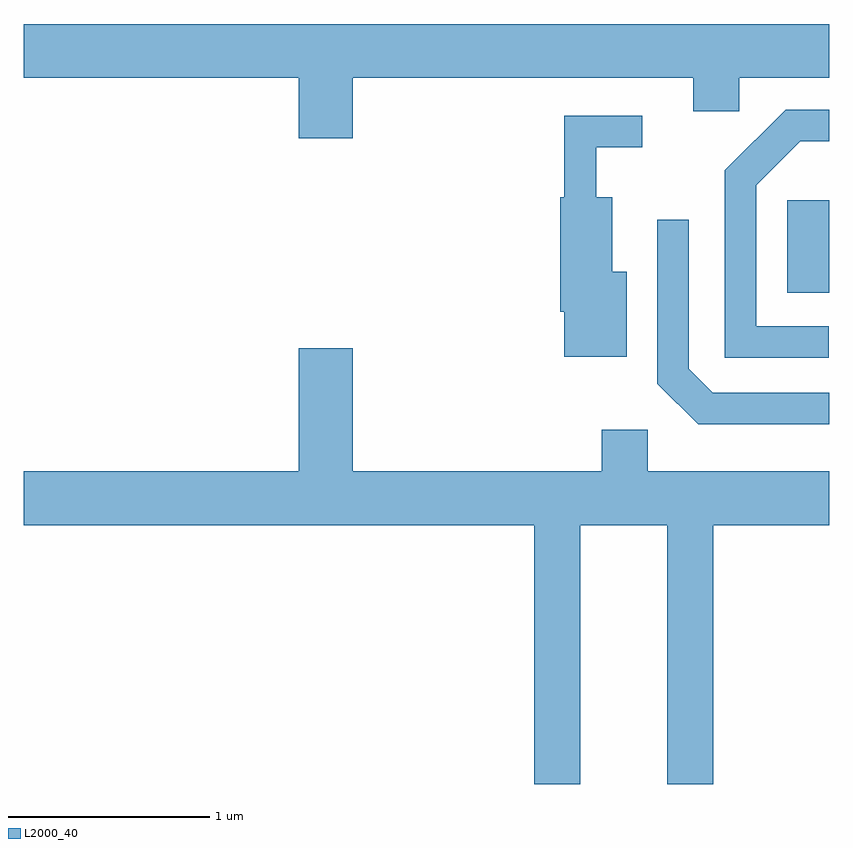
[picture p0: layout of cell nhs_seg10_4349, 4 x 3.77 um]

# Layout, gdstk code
import gdstk
lib = gdstk.Library(unit=1e-6, precision=1e-09)
def R(c, l, rs):  # rectangles x0, y0, x1, y1
    for r in rs: c.add(gdstk.rectangle(r[:2], r[2:], *l))
def P(c, l, *ps):  # polygons
    for p in ps: c.add(gdstk.Polygon(p, *l))
L2000_40 = (2000, 40)

nhs_seg10_4349 = lib.new_cell('nhs_seg10_4349')
R(nhs_seg10_4349, L2000_40, [(317.401,2115.071,317.611,2115.529)])
P(nhs_seg10_4349, L2000_40, [(315.244,2116.136),(316.936,2116.136),(316.936,2115.971),(317.164,2115.971),(317.164,2116.136),(317.611,2116.136),(317.611,2116.404),(313.611,2116.404),(313.611,2116.136),(314.976,2116.136),(314.976,2115.836),(315.244,2115.836)],
  [(317.608,2114.904),(317.249,2114.904),(317.249,2115.604),(317.467,2115.821),(317.611,2115.821),(317.611,2115.979),(317.394,2115.979),(317.091,2115.677),(317.091,2114.746),(317.608,2114.746)],
  [(316.604,2115.174),(316.534,2115.174),(316.534,2115.544),(316.454,2115.544),(316.454,2115.791),(316.683,2115.791),(316.683,2115.949),(316.296,2115.949),(316.296,2115.544),(316.276,2115.544),(316.276,2114.976),(316.296,2114.976),(316.296,2114.751),(316.604,2114.751)],
  [(317.611,2114.574),(317.032,2114.574),(316.914,2114.692),(316.914,2115.433),(316.756,2115.433),(316.756,2114.619),(316.959,2114.416),(317.611,2114.416)],
  [(316.374,2113.916),(316.806,2113.916),(316.806,2112.631),(317.034,2112.631),(317.034,2113.916),(317.611,2113.916),(317.611,2114.184),(316.709,2114.184),(316.709,2114.389),(316.481,2114.389),(316.481,2114.184),(315.244,2114.184),(315.244,2114.794),(314.976,2114.794),(314.976,2114.184),(313.611,2114.184),(313.611,2113.916),(316.146,2113.916),(316.146,2112.631),(316.374,2112.631)])

lib.write_gds('nhs_seg10_4349.gds')
